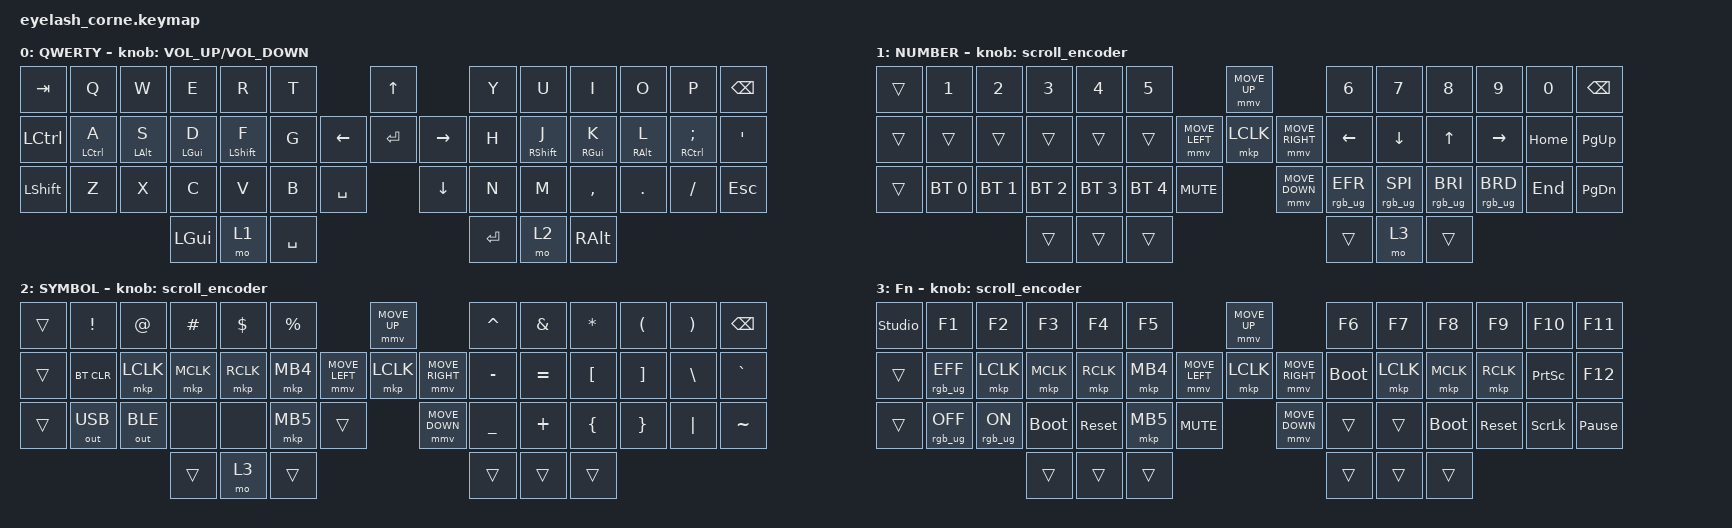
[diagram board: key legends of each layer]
#define ZMK_POINTING_DEFAULT_MOVE_VAL 1200  // 600
#define ZMK_POINTING_DEFAULT_SCRL_VAL 25   // 10

#include <input/processors.dtsi>
#include <zephyr/dt-bindings/input/input-event-codes.h>
#include <behaviors.dtsi>
#include <dt-bindings/zmk/bt.h>
#include <dt-bindings/zmk/keys.h>
#include <dt-bindings/zmk/outputs.h>
#include <dt-bindings/zmk/pointing.h>
#include <dt-bindings/zmk/rgb.h>

&mmv_input_listener { input-processors = <&zip_xy_scaler 2 1>; };

&msc_input_listener { input-processors = <&zip_scroll_scaler 2 1>; };

&msc {
    acceleration-exponent = <1>;      // 0
    time-to-max-speed-ms = <100>;       // 300
    delay-ms = <0>;                   // 0
};

&mmv {
    time-to-max-speed-ms = <500>;
    acceleration-exponent = <1>;
    trigger-period-ms = <16>;
};

/ {
    behaviors {
        td0: td0 {
            compatible = "zmk,behavior-tap-dance";
            display-name = "Shift/Caps Lock Tap Dance";
            #binding-cells = <0>;
            bindings = <&kp LEFT_SHIFT>, <&kp CAPS>;
        };

        hm: homerow_mods {
            compatible = "zmk,behavior-hold-tap";
            label = "HOMEROW_MODS";
            #binding-cells = <2>;
            tapping-term-ms = <170>;
            quick_tap_ms = <0>;
            flavor = "tap-preferred";
            bindings = <&kp>, <&kp>;
        };

        lh_pht: left_positional_hold_tap {
            compatible = "zmk,behavior-hold-tap";
            #binding-cells = <2>;
            flavor = "tap-preferred";
            tapping-term-ms = <150>;
            quick-tap-ms = <0>;
            bindings = <&kp>, <&kp>;

            hold-trigger-key-positions = <7 8 9 10 11 22 23 39 40 41 24 25 26 27 12 38 37 36 45>;
            hold-trigger-on-release;
            label = "left positional hold tap";
            require-prior-idle-ms = <150>;
        };

        rh_pht: right_positional_hold_tap {
            compatible = "zmk,behavior-hold-tap";
            #binding-cells = <2>;
            flavor = "tap-preferred";
            tapping-term-ms = <150>;
            quick-tap-ms = <0>;
            bindings = <&kp>, <&kp>;

            hold-trigger-key-positions = <0 1 2 3 4 5 13 14 15 16 17 28 29 30 31 32 33 18 44>;
            label = "right positional hold tap";
            hold-trigger-on-release;
            require-prior-idle-ms = <150>;
        };
    };

    rgb_encoder: rgb_encoder {
        compatible = "zmk,behavior-sensor-rotate";
        #sensor-binding-cells = <0>;
        bindings = <&rgb_ug RGB_BRI>, <&rgb_ug RGB_BRD>;
    };

    scroll_encoder: scroll_encoder {
        compatible = "zmk,behavior-sensor-rotate";
        #sensor-binding-cells = <0>;
        bindings = <&msc SCRL_DOWN>, <&msc SCRL_UP>;

        tap-ms = <100>;
    };

    keymap {
        compatible = "zmk,keymap";

        default_layer {
            display-name = "QWERTY";
            bindings = <
&kp TAB         &kp Q            &kp W               &kp E               &kp R                 &kp T                             &kp UP                &kp Y      &kp U                  &kp I                &kp O                &kp P               &kp BSPC
&kp LCTRL       &lh_pht LCTRL A  &lh_pht LEFT_ALT S  &lh_pht LEFT_GUI D  &lh_pht LEFT_SHIFT F  &kp G                   &kp LEFT  &kp ENTER  &kp RIGHT  &kp H      &rh_pht RIGHT_SHIFT J  &rh_pht RIGHT_GUI K  &rh_pht RIGHT_ALT L  &rh_pht RCTRL SEMI  &kp SQT
&kp LEFT_SHIFT  &kp Z            &kp X               &kp C               &kp V                 &kp B      &kp SPACE              &kp DOWN              &kp N      &kp M                  &kp COMMA            &kp DOT              &kp FSLH            &kp ESC
                                                     &kp LGUI            &mo 1                 &kp SPACE                                               &kp ENTER  &mo 2                  &kp RALT
            >;

            sensor-bindings = <&inc_dec_kp C_VOLUME_UP C_VOLUME_DOWN>;
        };

        lower_layer {
            display-name = "NUMBER";
            bindings = <
&trans  &kp N1        &kp N2        &kp N3        &kp N4        &kp N5                                      &mmv MOVE_UP                     &kp N6           &kp N7           &kp N8           &kp N9           &kp N0    &kp BSPC
&trans  &trans        &trans        &trans        &trans        &trans                      &mmv MOVE_LEFT  &mkp LCLK       &mmv MOVE_RIGHT  &kp LEFT         &kp DOWN         &kp UP           &kp RIGHT        &kp HOME  &kp PG_UP
&trans  &bt BT_SEL 0  &bt BT_SEL 1  &bt BT_SEL 2  &bt BT_SEL 3  &bt BT_SEL 4  &kp C_MUTE                    &mmv MOVE_DOWN                   &rgb_ug RGB_EFR  &rgb_ug RGB_SPI  &rgb_ug RGB_BRI  &rgb_ug RGB_BRD  &kp END   &kp PG_DN
                                    &trans        &trans        &trans                                                                       &trans           &mo 3            &trans
            >;

            sensor-bindings = <&scroll_encoder>;
        };

        raise_layer {
            display-name = "SYMBOL";
            bindings = <
&trans  &kp EXCL      &kp AT        &kp HASH   &kp DLLR   &kp PRCNT                            &mmv MOVE_UP                     &kp CARET  &kp AMPS   &kp ASTRK  &kp LPAR  &kp RPAR  &kp BSPC
&trans  &bt BT_CLR    &mkp LCLK     &mkp MCLK  &mkp RCLK  &mkp MB4             &mmv MOVE_LEFT  &mkp LCLK       &mmv MOVE_RIGHT  &kp MINUS  &kp EQUAL  &kp LBKT   &kp RBKT  &kp BSLH  &kp GRAVE
&trans  &out OUT_USB  &out OUT_BLE  &none      &none      &mkp MB5   &trans                    &mmv MOVE_DOWN                   &kp UNDER  &kp PLUS   &kp LBRC   &kp RBRC  &kp PIPE  &kp TILDE
                                    &trans     &mo 3      &trans                                                                &trans     &trans     &trans
            >;

            sensor-bindings = <&scroll_encoder>;
        };

        layer_3 {
            display-name = "Fn";
            bindings = <
&studio_unlock  &kp F1           &kp F2          &kp F3       &kp F4      &kp F5                                  &mmv MOVE_UP                     &kp F6       &kp F7     &kp F8       &kp F9      &kp F10          &kp F11
&trans          &rgb_ug RGB_EFF  &mkp LCLK       &mkp MCLK    &mkp RCLK   &mkp MB4                &mmv MOVE_LEFT  &mkp LCLK       &mmv MOVE_RIGHT  &bootloader  &mkp LCLK  &mkp MCLK    &mkp RCLK   &kp PRINTSCREEN  &kp F12
&trans          &rgb_ug RGB_OFF  &rgb_ug RGB_ON  &bootloader  &sys_reset  &mkp MB5  &kp C_MUTE                    &mmv MOVE_DOWN                   &trans       &trans     &bootloader  &sys_reset  &kp SCROLLLOCK   &kp PAUSE_BREAK
                                                 &trans       &trans      &trans                                                                   &trans       &trans     &trans
            >;

            sensor-bindings = <&scroll_encoder>;
        };
    };
};
